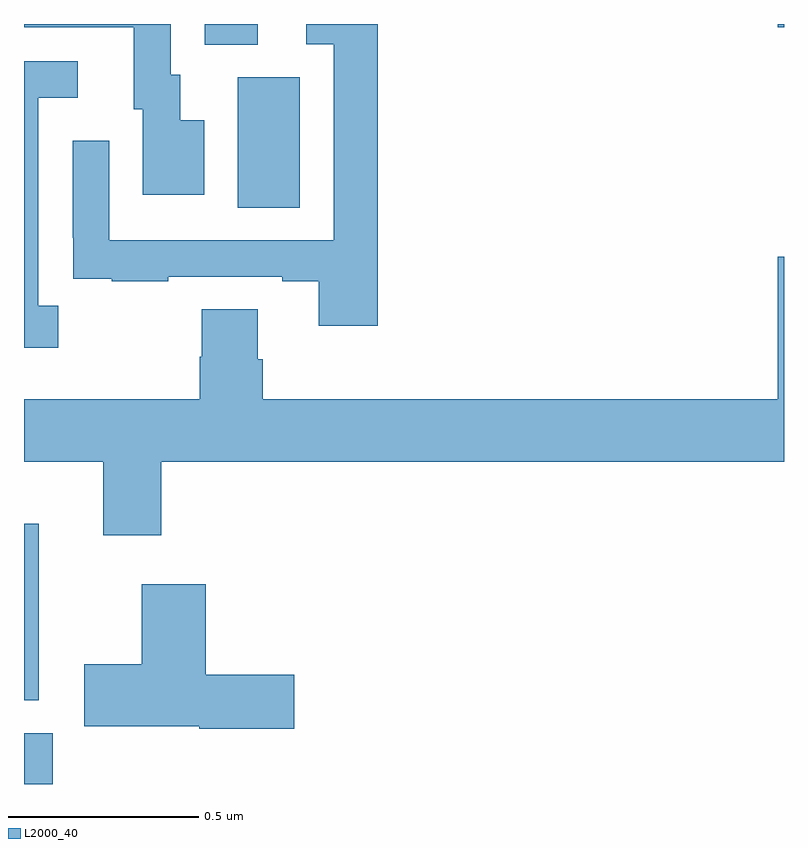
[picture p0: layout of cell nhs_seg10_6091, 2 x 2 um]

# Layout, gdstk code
import gdstk
lib = gdstk.Library(unit=1e-6, precision=1e-09)
def R(c, l, rs):  # rectangles x0, y0, x1, y1
    for r in rs: c.add(gdstk.rectangle(r[:2], r[2:], *l))
def P(c, l, *ps):  # polygons
    for p in ps: c.add(gdstk.Polygon(p, *l))
L2000_40 = (2000, 40)

nhs_seg10_6091 = lib.new_cell('nhs_seg10_6091')
R(nhs_seg10_6091, L2000_40, [(187,1267.5,187.075,1267.633), (187,1267.721,187.039,1268.185), (187.562,1269.016,187.726,1269.36), (187.475,1269.445,187.615,1269.5), (188.984,1269.492,189,1269.5)])
P(nhs_seg10_6091, L2000_40, [(187.931,1269.5),(187.743,1269.5),(187.743,1269.447),(187.815,1269.447),(187.815,1268.931),(187.224,1268.931),(187.224,1269.193),(187.128,1269.193),(187.128,1268.938),(187.129,1268.938),(187.129,1268.829),(187.231,1268.829),(187.231,1268.823),(187.379,1268.823),(187.379,1268.835),(187.679,1268.835),(187.679,1268.823),(187.775,1268.823),(187.775,1268.706),(187.931,1268.706)],
  [(187.474,1269.247),(187.411,1269.247),(187.411,1269.366),(187.386,1269.366),(187.386,1269.5),(187,1269.5),(187,1269.492),(187.289,1269.492),(187.289,1269.276),(187.313,1269.276),(187.313,1269.051),(187.474,1269.051)],
  [(187.09,1268.758),(187.038,1268.758),(187.038,1269.306),(187.141,1269.306),(187.141,1269.402),(187,1269.402),(187,1268.648),(187.09,1268.648)],
  [(187.361,1268.348),(189,1268.348),(189,1268.887),(188.984,1268.887),(188.984,1268.512),(187.628,1268.512),(187.628,1268.618),(187.615,1268.618),(187.615,1268.75),(187.468,1268.75),(187.468,1268.625),(187.463,1268.625),(187.463,1268.512),(187,1268.512),(187,1268.348),(187.208,1268.348),(187.208,1268.154),(187.361,1268.154)],
  [(187.711,1267.787),(187.478,1267.787),(187.478,1268.026),(187.31,1268.026),(187.31,1267.815),(187.158,1267.815),(187.158,1267.652),(187.461,1267.652),(187.461,1267.645),(187.711,1267.645)])

lib.write_gds('nhs_seg10_6091.gds')
